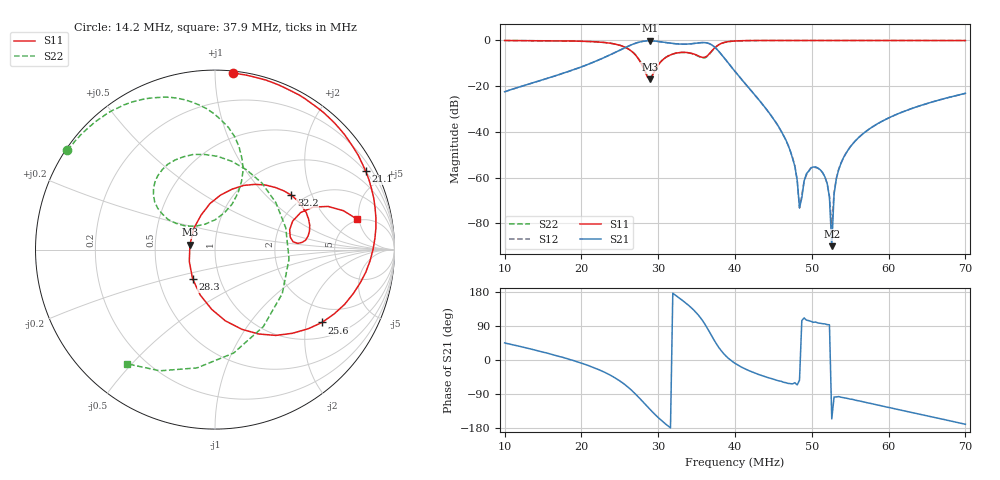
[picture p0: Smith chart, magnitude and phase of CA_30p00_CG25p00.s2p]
#  HZ  S  RI  R  50.00
! Rohde & Schwarz ZVT8 8Ports - Version 4.11 - 1300.0000k08 SN: 100242
! Date: 2026-07-31 14:38:51
! Measurements: S11 S21 S12 S22
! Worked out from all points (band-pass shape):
!   201 points, 10 MHz to 70 MHz, reference 50 ohm
!   highest |S21| = -0.15 dB at 28.9 MHz (marker M1); lowest = -90.0 dB at 52.6 MHz (marker M2)
!   |S21| within 3 dB of the highest: 25.68 MHz to 37.42 MHz (11.74 MHz wide, 37.2 % of centre)
!   lowest |S11| = -16.9 dB at 28.9 MHz (marker M3), VSWR 1.33, Z = 37.7 + j2.05 ohm
!   |S11| at or under -10 dB: 27.77 MHz to 30.18 MHz (2.404 MHz wide, 8.3 % of centre)
!   |S22| runs from -16.4 to 0.0 dB; largest |S21 - S12| = 0.0027
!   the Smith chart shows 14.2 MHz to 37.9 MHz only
!   S11 on the Smith chart (normalised r, x): 14.2 MHz: 0.01, +1.11; 21.1 MHz: 0.48, +4.04; 25.6 MHz: 1.46, -2.47; 28.3 MHz: 0.74, -0.25; 32.2 MHz: 1.73, +1.44; 37.9 MHz: 4.79, +4.72
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1e7  -0.4017 0.9114  0.0531 0.0535  0.0531 0.0535  -0.9177 0.3878
1.42e7  0.0986 0.9846  0.1142 0.0533  0.1142 0.0532  -0.822 0.553
2.02e7  0.7731 0.5657  0.2683 -0.0455  0.2675 -0.0452  -0.5514 0.7841
2.11e7  0.84 0.436  0.2992 -0.0869  0.2992 -0.0867  -0.4845 0.8143
2.56e7  0.5959 -0.406  0.3018 -0.6153  0.3017 -0.6159  0.037 0.7193
2.83e7  -0.1248 -0.163  -0.4351 -0.8677  -0.4352 -0.8664  0.0537 0.2065
2.89e7  -0.1396 0.0267  -0.6274 -0.756  -0.6266 -0.7544  -0.0543 0.1419
3.01e7  0.0309 0.3038  -0.8488 -0.4178  -0.8467 -0.4177  -0.261 0.1676
3.22e7  0.4261 0.303  -0.839 0.1214  -0.8379 0.1218  -0.3186 0.4119
3.61e7  0.4161 0.1113  -0.0611 0.8937  -0.061 0.8923  0.4125 -0.0525
3.79e7  0.7926 0.1691  0.4828 0.311  0.4835 0.3121  -0.4913 -0.6361
4e7  0.9225 -0.3112  0.2079 -0.032  0.2077 -0.032  -0.9729 -0.00284
4.66e7  0.2436 -0.9686  0.00342 -0.00589  0.00335 -0.00584  -0.6969 0.7142
4.78e7  0.0976 -0.9931  0.000872 -0.00151  0.00076 -0.00163  -0.6379 0.7653
4.84e7  0.0234 -0.9982  0.00013 -0.000174  0.000132 -0.000173  -0.6112 0.7877
5.02e7  -0.1919 -0.9797  -0.000281 0.00168  -0.000305 0.00167  -0.5293 0.8451
5.2e7  -0.3951 -0.9177  -4.44e-05 0.000752  -5.08e-05 0.000732  -0.4481 0.8892
5.26e7  -0.4576 -0.8855  -2.88e-05 -1.32e-05  -7.02e-05 -4.59e-05  -0.4227 0.9034
5.32e7  -0.5189 -0.8532  -0.000124 -0.000945  -0.000117 -0.000969  -0.3965 0.9148
5.44e7  -0.6317 -0.7722  -0.000578 -0.00324  -0.000592 -0.00326  -0.345 0.935
6.01e7  -0.9682 -0.2331  -0.0119 -0.0168  -0.0119 -0.0167  -0.1027 0.9915
7e7  -0.6241 0.7738  -0.0687 -0.0126  -0.0684 -0.0126  0.3042 0.9473
